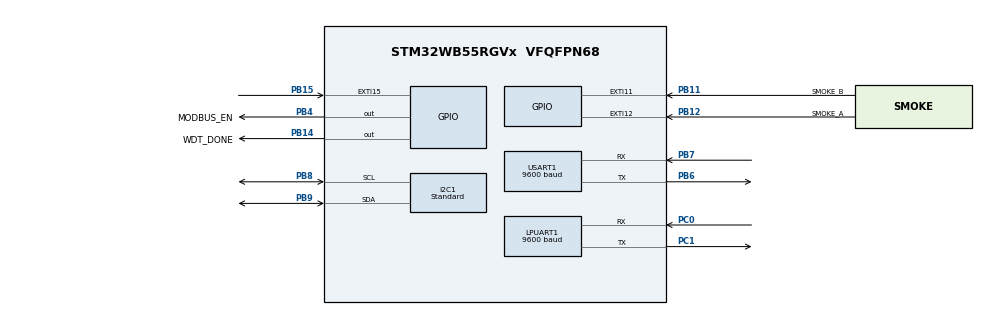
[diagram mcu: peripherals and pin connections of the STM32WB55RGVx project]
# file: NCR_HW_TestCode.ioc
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I2C1.CustomTiming=Enabled
I2C1.I2C_Speed_Mode=I2C_Standard
I2C1.Timing=0x00707CBB
IWDG.Prescaler=IWDG_PRESCALER_256
LPUART1.BaudRate=9600
Mcu.Family=STM32WB
Mcu.Name=STM32WB55RGVx
Mcu.Package=VFQFPN68
NVIC.EXTI15_10_IRQn=true\:0\:0\:false\:false\:true\:true\:true\:true
NVIC.LPUART1_IRQn=true\:0\:0\:false\:false\:true\:true\:true\:true
NVIC.PriorityGroup=NVIC_PRIORITYGROUP_4
NVIC.USART1_IRQn=true\:0\:0\:false\:false\:true\:true\:true\:true
PB11.GPIO_Label=SMOKE_B
PB11.GPIO_ModeDefaultEXTI=GPIO_MODE_IT_RISING_FALLING
PB11.Signal=GPXTI11
PB12.GPIO_Label=SMOKE_A
PB12.GPIO_ModeDefaultEXTI=GPIO_MODE_IT_RISING_FALLING
PB12.Signal=GPXTI12
PB14.GPIO_Label=WDT_DONE
PB14.Signal=GPIO_Output
PB15.GPIO_ModeDefaultEXTI=GPIO_MODE_IT_RISING
PB15.Signal=GPXTI15
PB4.GPIO_Label=MODBUS_EN
PB4.Signal=GPIO_Output
PB6.Mode=Asynchronous
PB6.Signal=USART1_TX
PB7.Mode=Asynchronous
PB7.Signal=USART1_RX
PB8.Mode=I2C
PB8.Signal=I2C1_SCL
PB9.Mode=I2C
PB9.Signal=I2C1_SDA
PC0.Mode=Asynchronous
PC0.Signal=LPUART1_RX
PC1.Mode=Asynchronous
PC1.Signal=LPUART1_TX
ProjectManager.HeapSize=0x200
ProjectManager.StackSize=0x400
ProjectManager.TargetToolchain=STM32CubeIDE
RCC.ADCFreq_Value=128000000
RCC.AHBFreq_Value=32000000
RCC.APB1Freq_Value=32000000
RCC.APB1TimFreq_Value=32000000
RCC.APB2Freq_Value=32000000
RCC.APB2TimFreq_Value=32000000
RCC.APB3Freq_Value=16000000
RCC.CortexFreq_Value=32000000
RCC.HCLKFreq_Value=32000000
RCC.HSE_VALUE=8000000
RCC.HSI48_VALUE=48000000
RCC.HSI_VALUE=16000000
RCC.LSE_VALUE=32768
RCC.MSIClockRange=RCC_MSIRANGE_10
RCC.SYSCLKFreq_VALUE=32000000
RCC.USBFreq_Value=128000000
RCC.VCOOutputFreq_Value=256000000
USART1.BaudRate=9600
USART1.VirtualMode-Asynchronous=VM_ASYNC
VP_IWDG_VS_IWDG.Mode=IWDG_Activate
board=custom

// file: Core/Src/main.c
/* USER CODE BEGIN Header */
/**
  ******************************************************************************
  * @file           : main.c
  * @brief          : Main program body
  ******************************************************************************
  * @attention
  *
  * Copyright (c) 2024 STMicroelectronics.
  * All rights reserved.
  *
  * This software is licensed under terms that can be found in the LICENSE file
  * in the root directory of this software component.
  * If no LICENSE file comes with this software, it is provided AS-IS.
  *
  ******************************************************************************
  */
/* USER CODE END Header */
#include "main.h"

/* USER CODE BEGIN Includes */
#include <stdio.h>
#include <stdbool.h>
#include "lis2dw12_reg.h"
#include <string.h>
#include "sht2x_for_stm32_hal.h"
#include "PWX_ST50H_Modbus.h"
#include "ATCommands.h"
#include <inttypes.h>
#include <sht40.h>
#include "ProjectConfig.h"
#include "stdlib.h"
#include "ads1115.h"
/* USER CODE END Includes */

I2C_HandleTypeDef hi2c1;

IWDG_HandleTypeDef hiwdg;

UART_HandleTypeDef hlpuart1;
UART_HandleTypeDef huart1;

/* USER CODE BEGIN PV */
UnscheduledTxTriggers TxTriggers = IDLE;
ModBus_t ModbusResp;
Sensors sensors;
LPUARTState lpuartState = UART_IDLE;
LTCStatus LTC4015;

bool hasJoinedNetwork = false;

uint32_t shtReadMillis = 0;
uint32_t sensorsReadMillis = 0;
uint32_t wdtResetMillis = 0;
uint32_t mcuResetMillis = 0;
uint32_t payloadQueueMilis = 0;
SHT40_Measurement sht40;

DryContactStatus dryContact;

uint8_t getMeterDataCmd1[] = GET_METER_ERG_CMD;
uint8_t getMeterDataCmd2[] = GET_METER_BASIC_CMD;

uint8_t setMeterOff[]     = METER_CMD_ON;
uint8_t setMeterOn[]      = METER_CMD_OFF;
uint8_t setMeterPrepaid[] = METER_CMD_PREPAID;

// LPUART 1 Variables
static bool responseReceived = false;
static char responseBuffer[100];
static char downlinkBuffer[100];
static uint16_t bufferIndex = 0;
bool isConfirmedUplinkReceived = false;
bool isDownlinkReceived = false;
uint8_t downlinkBufferLen = 0;
bool isWarmedUp = false;
uint32_t warmUpMillis = 0;
uint32_t acrelReadMillis = 0;

// Accelerometer related
//static axis3bit16_t data_raw_acceleration[SELF_TEST_SAMPLES];
//static float acceleration_mg[SELF_TEST_SAMPLES][3];
static uint8_t whoamI, rst;
//static uint8_t tx_buffer[1000];
stmdev_ctx_t dev_ctx;
lis2dw12_reg_t int_route;

bool isTapDetected = false;
bool isMovementDetected = false;
uint32_t initTapMillis = 0;

uint8_t prev_dryContact    = 0;
uint8_t current_dryContact = 0;
uint8_t prev_smoke         = 0;
uint8_t current_smoke      = 0;
LeakState current_leak = 0;
LeakState prev_leak = DRY;

TxPayloadQueue payLoadQueue;

float adcRead;
/* USER CODE END PV */

void SystemClock_Config(void);
void PeriphCommonClock_Config(void);
static void MX_GPIO_Init(void);
static void MX_LPUART1_UART_Init(void);
static void MX_I2C1_Init(void);
static void MX_USART1_UART_Init(void);
static void MX_IWDG_Init(void);
/* USER CODE BEGIN PFP */
#ifdef __GNUC__
#define PUTCHAR_PROTOTYPE int __io_putchar(int ch)
#else
#define PUTCHAR_PROTOTYPE int fputc(int ch, FILE *f)
#endif

PUTCHAR_PROTOTYPE
{
  HAL_UART_Transmit(&hlpuart1, (uint8_t *)&ch, 1, HAL_MAX_DELAY);
  return ch;
}

void WDTReset(void);
void MCP23008_Init(void);
void MCP23008_ConfigureInterrupts(void);
void readSHT40(SHT40 *sht40);
void scanI2CDevices(void);
void printLineMarker(char marker); // for debugging
void handleInterruptTriggers(UnscheduledTxTriggers trigger);
void readLTC4015(LTCStatus *ltc4015);
bool generatePowerTxPayload(Sensors sensors, TxPayload *payload);
void appendModbusToPayload(TxPayload *payload, ModBus_t *modbus);
void mockModbusResponse(ModBus_t *modbus, uint8_t *data, uint16_t length);
void queueUnscheduledPayload(void);
void queueHeartbeatPayload(void);
void queuePayload(TxPayload Payload);

void readWaterLeak(WaterLeak *leak);

//Lora FPF
bool setLoraCredentials(void);
bool sendATCommand(char *command, uint32_t responseWaitTime, LPUARTState _lpuartState);
bool sendToLora(uint8_t portNumber, bool isConfirmedUplink, TxPayload payload);
bool joinNetwork(void);
bool generatePayload(void **inputs, DataType *types, uint8_t itemCount, MessageType msgType, TxPayload *payload);
bool generateHeartbeatTxPayload(Sensors sensors, TxPayload *payload);
bool generatePowerTxPayload(Sensors sensors, TxPayload *payload);
bool generateUnscheduledTxPayload(Sensors sensors, TxPayload *payload);

DryContactStatus MCP23008_ReadInputs(void);
SmokeStatus ReadSmokeStatus(void);

// Accelerometer PFP
static int32_t platform_write(void *handle, uint8_t reg, const uint8_t *bufp, uint16_t len);
static int32_t platform_read(void *handle, uint8_t reg, uint8_t *bufp, uint16_t len);
//static void tx_com( uint8_t *tx_buffer, uint16_t len );
static void platform_delay(uint32_t ms);
static void platform_init(void);
bool initAccelerometer(void);
void readAccelerometer(Accel *_accel);

void initQueue(TxPayloadQueue *q);
int enqueue(TxPayloadQueue *q, TxPayload element);
int dequeue(TxPayloadQueue *q, TxPayload *element);
int isQueueEmpty(TxPayloadQueue *q);
int isQueueFull(TxPayloadQueue *q);

/* USER CODE END PFP */

/* USER CODE BEGIN 0 */
static inline float ABSF(float _x)
{
  return (_x < 0.0f) ? -(_x) : _x;
}

//static int flush_samples(stmdev_ctx_t *dev_ctx)
//{
//  lis2dw12_reg_t reg;
//  axis3bit16_t dummy;
//  int samples = 0;
//  /*
//   * Discard old samples
//   */
//  lis2dw12_status_reg_get(dev_ctx, &reg.status);
//
//  if (reg.status.drdy) {
//    lis2dw12_acceleration_raw_get(dev_ctx, dummy.i16bit);
//    samples++;
//  }
//
//  return samples;
//}
//
//static void test_self_test_lis2dw12(stmdev_ctx_t *dev_ctx)
//{
//  lis2dw12_reg_t reg;
//  float media[3] = { 0.0f, 0.0f, 0.0f };
//  float mediast[3] = { 0.0f, 0.0f, 0.0f };
//  uint8_t match[3] = { 0, 0, 0 };
//  uint8_t j = 0;
//  uint16_t i = 0;
//  uint8_t k = 0;
//  uint8_t axis;
//  /* Restore default configuration */
//  lis2dw12_reset_set(dev_ctx, PROPERTY_ENABLE);
//
//  do {
//    lis2dw12_reset_get(dev_ctx, &rst);
//  } while (rst);
//
//  lis2dw12_block_data_update_set(dev_ctx, PROPERTY_ENABLE);
//  lis2dw12_full_scale_set(dev_ctx, LIS2DW12_4g);
//  lis2dw12_power_mode_set(dev_ctx, LIS2DW12_HIGH_PERFORMANCE);
//  lis2dw12_data_rate_set(dev_ctx, LIS2DW12_XL_ODR_50Hz);
//  HAL_Delay(100);
//  /* Flush old samples */
//  flush_samples(dev_ctx);
//
//  do {
//    lis2dw12_status_reg_get(dev_ctx, &reg.status);
//
//    if (reg.status.drdy) {
//      /* Read accelerometer data */
//      memset(data_raw_acceleration[i].i16bit, 0x00, 3 * sizeof(int16_t));
//      lis2dw12_acceleration_raw_get(dev_ctx,
//                                    data_raw_acceleration[i].i16bit);
//
//      for (axis = 0; axis < 3; axis++) {
//        acceleration_mg[i][axis] =
//          lis2dw12_from_fs4_to_mg(data_raw_acceleration[i].i16bit[axis]);
//      }
//
//      i++;
//    }
//  } while (i < SELF_TEST_SAMPLES);
//
//  for (k = 0; k < 3; k++) {
//    for (j = 0; j < SELF_TEST_SAMPLES; j++) {
//      media[k] += acceleration_mg[j][k];
//    }
//
//    media[k] = (media[k] / j);
//  }
//
//  /* Enable self test mode */
//  lis2dw12_self_test_set(dev_ctx, LIS2DW12_XL_ST_POSITIVE);
//  HAL_Delay(100);
//  i = 0;
//  /* Flush old samples */
//  flush_samples(dev_ctx);
//
//  do {
//    lis2dw12_status_reg_get(dev_ctx, &reg.status);
//
//    if (reg.status.drdy) {
//      /* Read accelerometer data */
//      memset(data_raw_acceleration[i].i16bit, 0x00, 3 * sizeof(int16_t));
//      lis2dw12_acceleration_raw_get(dev_ctx,
//                                    data_raw_acceleration[i].i16bit);
//
//      for (axis = 0; axis < 3; axis++)
//        acceleration_mg[i][axis] =
//          lis2dw12_from_fs4_to_mg(data_raw_acceleration[i].i16bit[axis]);
//
//      i++;
//    }
//  } while (i < SELF_TEST_SAMPLES);
//
//  for (k = 0; k < 3; k++) {
//    for (j = 0; j < SELF_TEST_SAMPLES; j++) {
//      mediast[k] += acceleration_mg[j][k];
//    }
//
//    mediast[k] = (mediast[k] / j);
//  }
//
//  /* Check for all axis self test value range */
//  for (k = 0; k < 3; k++) {
//    if ((ABSF(mediast[k] - media[k]) >= ST_MIN_POS) &&
//        (ABSF(mediast[k] - media[k]) <= ST_MAX_POS)) {
//      match[k] = 1;
//    }
//
//    sprintf((char *)tx_buffer, "%d: |%f| <= |%f| <= |%f| %s\r\n", k,
//            ST_MIN_POS, ABSF(mediast[k] - media[k]), ST_MAX_POS,
//            match[k] == 1 ? "PASSED" : "FAILED");
//    tx_com(tx_buffer, strlen((char const *)tx_buffer));
//  }
//
//  /* Disable self test mode */
//  lis2dw12_data_rate_set(dev_ctx, LIS2DW12_XL_ODR_OFF);
//  lis2dw12_self_test_set(dev_ctx, LIS2DW12_XL_ST_DISABLE);
//}

/* USER CODE END 0 */

int main(void)
{

  /* MCU Configuration--------------------------------------------------------*/

  /* Reset of all peripherals, Initializes the Flash interface and the Systick. */
  HAL_Init();

  /* USER CODE BEGIN Init */
  // Initialize MCP23008
  MCP23008_Init();
  /* USER CODE END Init */

  /* Configure the system clock */
  SystemClock_Config();

/* Configure the peripherals common clocks */
  PeriphCommonClock_Config();

  /* Initialize all configured peripherals */
  MX_GPIO_Init();
  MX_LPUART1_UART_Init();
  MX_I2C1_Init();
  MX_USART1_UART_Init();
  MX_IWDG_Init();
  /* USER CODE BEGIN 2 */

  // Initialize MCP23008
  MCP23008_Init();

  // Configure interrupts on MCP23008
  MCP23008_ConfigureInterrupts();

  // Initialize SHT20 Sensor
  uint32_t sht40_serial;
  if( SHT40_ReadSerial(&hi2c1, &sht40_serial) != HAL_ERROR ) {
	  	sensors.sht40.alarmState.temperature = NORMAL;
	  	sensors.sht40.alarmState.humidity = NORMAL;
	  	sensors.sht40.thresholds.temp_high = TEMP_HIGH;
	  	sensors.sht40.thresholds.temp_low  = TEMP_LOW;
	  	sensors.sht40.thresholds.temp_hys  = TEMP_HYS;
	  	sensors.sht40.thresholds.rel_high  = RH_HIGH;
		sensors.sht40.thresholds.rel_low   = RH_LOW;
		sensors.sht40.thresholds.rel_hys   = RH_HYS;
		//printf("I2C connection established to SHT40 with serial %" PRIu32 "\r\n", sht40_serial);
  } else {
		//printf("Failed to read serial from SHT40; check connections and reset MCU\r\n");
  }

  // Initialize accelerometer
  if(initAccelerometer()){
	  //printf("Accelerometer Initialized \r\n ");
  }
  else{
	  //printf("Error Accelerometer Initialization \r\n ");
  }

  if(ADS1115_Init(&hi2c1, ADS1115_DATA_RATE_64, ADS1115_PGA_ONE) == HAL_OK){
	  HAL_Delay(1500);
	  //printf("ADC Present");
  } else{
  	  //printf("ADC Not Found");
  }

  // Initialize Modbus
  initModbus(&huart1, MODBUS_EN_GPIO_Port, MODBUS_EN_Pin);
  HAL_UART_Receive_IT(&huart1, (uint8_t *)(ModbusResp.buffer + ModbusResp.rxIndex), 1);

  // Init ST50H AT Slave Communication
  uint8_t rxBuffer;
  HAL_UART_Receive_IT(&hlpuart1, &rxBuffer, 1);
  // Initialize timers;
  shtReadMillis = HAL_GetTick();
  payloadQueueMilis  = HAL_GetTick();
  /* USER CODE END 2 */

  /* Infinite loop */
  /* USER CODE BEGIN WHILE */
  printf(" # # # # # # # # # # -> %s\r\n ", FirmwareName);
  printf("# # # # # # # # # # -> Firmware Version %d.%d.%d\r\n ", VERSION_MAJOR, VERSION_MID, VERSION_MINOR);

#ifdef SCAN_I2C_DEVICES
  scanI2CDevices();
#endif

  WDTReset();
  HAL_Delay(2000);

  sendATCommand(AT_RFS, 2000, AT_RESPONSE_CAPTURE_OK);
  sendATCommand(AT_RFS, 2000, AT_RESPONSE_CAPTURE_OK);
  sendATCommand(AT_RFS, 2000, AT_RESPONSE_CAPTURE_OK);

  HAL_Delay(2000);
  //printf("Setting LoRa Credentials \r\n");
  if(!setLoraCredentials()){

  }else{
	  //printf("Success setting LoRa credentials \r\n");
  }

  printf("Joining to Network \r\n");

  while(hasJoinedNetwork == false){
	  joinNetwork();
	  printf("Retrying Joining Lora\r\n");
  }
  printf("Success Joining Lora \r\n");

  TxPayload initPayload;
  initPayload.buffer[0] = 0x00;
  initPayload.buffer[1] = 0x01;
  initPayload.buffer[2] = 0x02;
  initPayload.length = 3;
  initPayload.msgType = DIAGNOSTICS;

  //printf("Sending Test Lora Payload\r\n");
  sendToLora(TEST_UPLINK_PORT, CONFIRMED_UPLINK, initPayload);

//  sendToLora(TEST_UPLINK_PORT, CONFIRMED_UPLINK, initPayload);
//
//  sendToLora(TEST_UPLINK_PORT, CONFIRMED_UPLINK, initPayload);
  mcuResetMillis = HAL_GetTick();
  warmUpMillis = HAL_GetTick();
  acrelReadMillis = HAL_GetTick();

  initQueue(&payLoadQueue);

  while (1)
  {

	  // Internal IWDT Feed
	  HAL_IWDG_Refresh(&hiwdg);

	  // External WDT Feed
	  if(HAL_GetTick() - wdtResetMillis > WDT_RESET_INTERVAL){
		  WDTReset();
		  wdtResetMillis = HAL_GetTick();
	  }

	  //Do Warm up to exclude false readings
	  if(isWarmedUp == false){
		  if(HAL_GetTick() - warmUpMillis > WARM_UP_TIME){
			  isWarmedUp = true;
		  }
	  }

//	  sendRaw(setMeterOn, METER_CMD_ON_LEN, &ModbusResp);
//	  HAL_Delay(1000);
//
//	  printf("MODBUS RESPONSE (Hex): ");
//	  for (int x = 0; x < ModbusResp.rxIndex; x++) {
//			printf("%02X ", ModbusResp.buffer[x]);
//	  }
//	  printf("\r\n");
//
//	  HAL_Delay(2000);
//
//	  sendRaw(setMeterOff, METER_CMD_OFF_LEN, &ModbusResp);
//	  HAL_Delay(1000);
//
//	  printf("MODBUS RESPONSE (Hex): ");
//	  for (int x = 0; x < ModbusResp.rxIndex; x++) {
//			printf("%02X ", ModbusResp.buffer[x]);
//	  }
//	  printf("\r\n");
//
//	  HAL_Delay(2000);

	  if(isDownlinkReceived == true){
		  isDownlinkReceived = false;
		  printf("DOWNLINK MESSAGE RECEIVED \r\n");
		  printf("Received Buffer: %.*s\r\n", downlinkBufferLen, downlinkBuffer);

		  // Check for Modbus Control
		  if(strstr(downlinkBuffer, "0101") != NULL){
			  printf("Modbus Command: Turn ON \r\n ");
			  sendRaw(setMeterOn, METER_CMD_ON_LEN, &ModbusResp);
			  HAL_Delay(1000);
		  }
		  if(strstr(downlinkBuffer, "0102") != NULL){
			  printf("Modbus Command: Turn OFF \r\n ");
			  sendRaw(setMeterOff, METER_CMD_OFF_LEN, &ModbusResp);
			  HAL_Delay(1000);
		  }
		  if(strstr(downlinkBuffer, "0103") != NULL){
			  printf("Modbus Command: Prepaid \r\n ");
			  sendRaw(setMeterPrepaid, METER_CMD_PREPAID_LEN, &ModbusResp);
			  HAL_Delay(1000);
		  }
	  }
	  if(isDownlinkReceived == true){
		  isDownlinkReceived = false;
		  printf("CONFIRMED UPLINK RECEIVED \r\n");
	  }

	  // Hanging / Freezing BAND AID Solution
	  if(HAL_GetTick() - mcuResetMillis > MCU_REST_INTERVAL){
		  //printf("RESTARTING MCU NOW... \r\n");
		  HAL_Delay(1000);
		  HAL_NVIC_SystemReset();
		  mcuResetMillis = HAL_GetTick();
	  }

	  // Handle Dequeue for Payloads
	  if(HAL_GetTick() - payloadQueueMilis > QUEUE_SEND_INTERVAL){
		  TxPayload payload;
		  if (dequeue(&payLoadQueue, &payload) == 0) {
		      //printf("Sending To Lora \r\n ");

		      if(payload.msgType == UNSCHEDULED_TRANSMISSION){
		    	  sendToLora(INTERRUPT_PORT, CONFIRMED_UPLINK, payload);
		      }

		      else if(payload.msgType == HEARTBEAT){
		    	  sendToLora(HEARTBEAT_PORT, UNCONFIRMED_UPLINK, payload);
		      }
		      else if(payload.msgType == POWER_PARAMS){
				  sendToLora(POWER_PORT, UNCONFIRMED_UPLINK, payload);
			  }

		  } else {
		      //printf("NOTHING TO SEND ... \r\n");
		  }
		  payloadQueueMilis = HAL_GetTick();
	  }

	  readAccelerometer(&sensors.accel);

	//test_self_test_lis2dw12(&dev_ctx);
    /* USER CODE END WHILE */

    /* USER CODE BEGIN 3 */

	  // Check for Unscheduled Transmission Requests
	  // handleInterruptTriggers(TxTriggers);

  	  // Check "INTERUPT EVENTS"
  	  if(HAL_GetTick() - shtReadMillis > SHT_READ_INTERVAL){

  		 // Read Water Leak
  		readWaterLeak(&sensors.leak);
  		current_leak = sensors.leak.state;
  		if(current_leak != prev_leak){
  			//printf("ALERT ON LEAK \r\n");
  			prev_leak = current_leak;

  			queueUnscheduledPayload();

  		}

  		// Read Temperature
  		readSHT40(&sensors.sht40);

  		// Read Smoke Sensor
  		sensors.smoke = ReadSmokeStatus();
  		current_smoke =  sensors.smoke.level;
  		if(current_smoke != prev_smoke){
  			//printf("ALERT ON SMOKE \r\n");
  			prev_smoke = current_smoke;

  			queueUnscheduledPayload();

  		}

  		// Read DryContacts
  	    sensors.dryContact = MCP23008_ReadInputs();
  	    current_dryContact = sensors.dryContact.value;
  	    if(current_dryContact != prev_dryContact){
  	    	//printf("ALERT ON DRY CONTACT \r\n");
  	    	prev_dryContact = current_dryContact;

  	    	queueUnscheduledPayload();

  	    }

#ifdef SERIAL_DEBUG_SHT
//  		printLineMarker('*');
//  		printf("\nSHT20 Reading ->Temperature: %.02f \t Humidity: %.02f\r\n", sensors.sht40.temperature, sensors.sht40.humidity);
//  		printf("\nSmoke Level -> Level %d \r\n", sensors.smoke.level);
//		printf("\nDry Contact States: %d %d %d %d %d %d %d %d \r\n\n",
//				sensors.dryContact.DC1, sensors.dryContact.DC2,
//				sensors.dryContact.DC3, sensors.dryContact.DC4,
//				sensors.dryContact.DC5, sensors.dryContact.DC6,
//				sensors.dryContact.DC7, sensors.dryContact.DC8);
//  		printLineMarker('*');
#endif

  		shtReadMillis = HAL_GetTick();
  	  }

  	  // Read Acrel Meter every Y Interval
  	  if(HAL_GetTick() - acrelReadMillis > ACREL_READ_INTERVAL){

  		  	TxPayload _powerPayload;
  		    _powerPayload.msgType = POWER_PARAMS;
  		    _powerPayload.buffer[0] = POWER_PARAMS;
  		    _powerPayload.length = 1;

			// First Modbus Command
			sendRaw(getMeterDataCmd1, GetMeterData_LEN, &ModbusResp);
			HAL_Delay(2000);

//			  printf("MODBUS RESPONSE (Hex): ");
//			  for (int x = 0; x < ModbusResp.rxIndex; x++) {
//					printf("%02X ", ModbusResp.buffer[x]);
//			  }
//			  printf("\r\n");

			appendModbusToPayload(&_powerPayload, &ModbusResp);

			// Second Modbus Command
			sendRaw(getMeterDataCmd2, GetMeterData_LEN, &ModbusResp);
			HAL_Delay(2000);

//			  printf("MODBUS RESPONSE (Hex): ");
//			  for (int x = 0; x < ModbusResp.rxIndex; x++) {
//					printf("%02X ", ModbusResp.buffer[x]);
//			  }
//			  printf("\r\n");

			appendModbusToPayload(&_powerPayload, &ModbusResp);

			queuePayload(_powerPayload);

			acrelReadMillis = HAL_GetTick();
  	  }

  	  // Read All Sensors every Y Interval - HEART BEAT
  	  if(HAL_GetTick() - sensorsReadMillis > DEVICE_HEARTBEAT){

  		// Read Water Leak
  		readWaterLeak(&sensors.leak);

  		// Read SHT20
  		readSHT40(&sensors.sht40);

	    // Read Smoke Sensor
	    sensors.smoke = ReadSmokeStatus();

	    // Read DryContacts
	    sensors.dryContact = MCP23008_ReadInputs();

	    // PLaceholder for LTC4015
	    readLTC4015(&sensors.ltc4015);

	    queueHeartbeatPayload();

//	    TxPayload _powerPayload;
//	    generatePowerTxPayload(sensors, &_powerPayload);
//
//
//	    // First Modbus Command
//	    sendRaw(getMeterDataCmd1, GetMeterData_LEN, &ModbusResp);
//	    HAL_Delay(2000);
//
//	    // Mock first Modbus Response
////	    uint8_t mockData1[] = {0x01, 0x03, 0x08, 0x01, 0x02, 0x03, 0x04, 0x05, 0x06, 0x07, 0x08, 0x64, 0x17};
////	    mockModbusResponse(&ModbusResp, mockData1, sizeof(mockData1));
//	    appendModbusToPayload(&_powerPayload, &ModbusResp);
//
//
//	    // Second Modbus Command
//	    sendRaw(getMeterDataCmd2, GetMeterData_LEN, &ModbusResp);
//	    HAL_Delay(2000);
//
//
//	    // Mock second Modbus Response
////	    uint8_t mockData2[] = {0x01, 0x03, 0x0E, 0x08, 0xD2, 0x00, 0x12, 0x00, 0x15, 0x00, 0x00, 0x00, 0x15, 0x03, 0xE8, 0x17, 0x61, 0x30, 0x4D};
////	    mockModbusResponse(&ModbusResp, mockData2, sizeof(mockData2));
//	    appendModbusToPayload(&_powerPayload, &ModbusResp);

//		sendToLora(POWER_PORT, CONFIRMED_UPLINK, _powerPayload);

#ifdef SCAN_I2C_DEVICES
  		scanI2CDevices();
#endif

#ifdef SERIAL_DEBUG_SENSORS
	    printLineMarker('-');
	    printf("SHT20 Reading ->Temperature: %.02f \t Humidity: %.02f\r\n", sensors.sht40.temperature, sensors.sht40.humidity);
	    printf("Smoke Level -> Level %d \r\n", sensors.smoke.level);
	    printf("Dry Contact States: %d %d %d %d %d %d %d %d \r\n",
				sensors.dryContact.DC1, sensors.dryContact.DC2,
				sensors.dryContact.DC3, sensors.dryContact.DC4,
				sensors.dryContact.DC5, sensors.dryContact.DC6,
				sensors.dryContact.DC7, sensors.dryContact.DC8);
	    printf("MODBUS RESPONSE (Hex): ");
	    for (int x = 0; x < ModbusResp.rxIndex; x++) {
	        printf("%02X ", ModbusResp.buffer[x]);
	    }
	    printf(" \r\n");
	    printLineMarker('-');
#endif

//	    // Generate HEARTBEAT Payload
//	    TxPayload _heartBeatPayload;
//	    generateHeartbeatTxPayload(sensors, &_heartBeatPayload);
//
//	    sendToLora(HEARTBEAT_PORT, CONFIRMED_UPLINK, _heartBeatPayload);

  		sensorsReadMillis = HAL_GetTick();
  	  }

  }
  /* USER CODE END 3 */
}

void SystemClock_Config(void)
{
  RCC_OscInitTypeDef RCC_OscInitStruct = {0};
  RCC_ClkInitTypeDef RCC_ClkInitStruct = {0};

  /** Configure the main internal regulator output voltage
  */
  __HAL_PWR_VOLTAGESCALING_CONFIG(PWR_REGULATOR_VOLTAGE_SCALE1);

  /** Initializes the RCC Oscillators according to the specified parameters
  * in the RCC_OscInitTypeDef structure.
  */
  RCC_OscInitStruct.OscillatorType = RCC_OSCILLATORTYPE_HSI|RCC_OSCILLATORTYPE_LSI1
                              |RCC_OSCILLATORTYPE_MSI;
  RCC_OscInitStruct.HSIState = RCC_HSI_ON;
  RCC_OscInitStruct.MSIState = RCC_MSI_ON;
  RCC_OscInitStruct.HSICalibrationValue = RCC_HSICALIBRATION_DEFAULT;
  RCC_OscInitStruct.MSICalibrationValue = RCC_MSICALIBRATION_DEFAULT;
  RCC_OscInitStruct.MSIClockRange = RCC_MSIRANGE_10;
  RCC_OscInitStruct.LSIState = RCC_LSI_ON;
  RCC_OscInitStruct.PLL.PLLState = RCC_PLL_NONE;
  if (HAL_RCC_OscConfig(&RCC_OscInitStruct) != HAL_OK)
  {
    Error_Handler();
  }

  /** Configure the SYSCLKSource, HCLK, PCLK1 and PCLK2 clocks dividers
  */
  RCC_ClkInitStruct.ClockType = RCC_CLOCKTYPE_HCLK4|RCC_CLOCKTYPE_HCLK2
                              |RCC_CLOCKTYPE_HCLK|RCC_CLOCKTYPE_SYSCLK
                              |RCC_CLOCKTYPE_PCLK1|RCC_CLOCKTYPE_PCLK2;
  RCC_ClkInitStruct.SYSCLKSource = RCC_SYSCLKSOURCE_MSI;
  RCC_ClkInitStruct.AHBCLKDivider = RCC_SYSCLK_DIV1;
  RCC_ClkInitStruct.APB1CLKDivider = RCC_HCLK_DIV1;
  RCC_ClkInitStruct.APB2CLKDivider = RCC_HCLK_DIV1;
  RCC_ClkInitStruct.AHBCLK2Divider = RCC_SYSCLK_DIV1;
  RCC_ClkInitStruct.AHBCLK4Divider = RCC_SYSCLK_DIV1;

  if (HAL_RCC_ClockConfig(&RCC_ClkInitStruct, FLASH_LATENCY_1) != HAL_OK)
  {
    Error_Handler();
  }
}

void PeriphCommonClock_Config(void)
{
  RCC_PeriphCLKInitTypeDef PeriphClkInitStruct = {0};

  /** Initializes the peripherals clock
  */
  PeriphClkInitStruct.PeriphClockSelection = RCC_PERIPHCLK_SMPS;
  PeriphClkInitStruct.SmpsClockSelection = RCC_SMPSCLKSOURCE_HSI;
  PeriphClkInitStruct.SmpsDivSelection = RCC_SMPSCLKDIV_RANGE1;

  if (HAL_RCCEx_PeriphCLKConfig(&PeriphClkInitStruct) != HAL_OK)
  {
    Error_Handler();
  }
}

static void MX_I2C1_Init(void)
{

  hi2c1.Instance = I2C1;
  hi2c1.Init.Timing = 0x00707CBB;
  hi2c1.Init.OwnAddress1 = 0;
  hi2c1.Init.AddressingMode = I2C_ADDRESSINGMODE_7BIT;
  hi2c1.Init.DualAddressMode = I2C_DUALADDRESS_DISABLE;
  hi2c1.Init.OwnAddress2 = 0;
  hi2c1.Init.OwnAddress2Masks = I2C_OA2_NOMASK;
  hi2c1.Init.GeneralCallMode = I2C_GENERALCALL_DISABLE;
  hi2c1.Init.NoStretchMode = I2C_NOSTRETCH_DISABLE;
  if (HAL_I2C_Init(&hi2c1) != HAL_OK)
  {
    Error_Handler();
  }

  /** Configure Analogue filter
  */
  if (HAL_I2CEx_ConfigAnalogFilter(&hi2c1, I2C_ANALOGFILTER_ENABLE) != HAL_OK)
  {
    Error_Handler();
  }

  /** Configure Digital filter
  */
  if (HAL_I2CEx_ConfigDigitalFilter(&hi2c1, 0) != HAL_OK)
  {
    Error_Handler();
  }

}

static void MX_IWDG_Init(void)
{

  hiwdg.Instance = IWDG;
  hiwdg.Init.Prescaler = IWDG_PRESCALER_256;
  hiwdg.Init.Window = 4095;
  hiwdg.Init.Reload = 4095;
  if (HAL_IWDG_Init(&hiwdg) != HAL_OK)
  {
    Error_Handler();
  }

}

static void MX_LPUART1_UART_Init(void)
{

  hlpuart1.Instance = LPUART1;
  hlpuart1.Init.BaudRate = 9600;
  hlpuart1.Init.WordLength = UART_WORDLENGTH_8B;
  hlpuart1.Init.StopBits = UART_STOPBITS_1;
  hlpuart1.Init.Parity = UART_PARITY_NONE;
  hlpuart1.Init.Mode = UART_MODE_TX_RX;
  hlpuart1.Init.HwFlowCtl = UART_HWCONTROL_NONE;
  hlpuart1.Init.OneBitSampling = UART_ONE_BIT_SAMPLE_DISABLE;
  hlpuart1.Init.ClockPrescaler = UART_PRESCALER_DIV1;
  hlpuart1.AdvancedInit.AdvFeatureInit = UART_ADVFEATURE_NO_INIT;
  hlpuart1.FifoMode = UART_FIFOMODE_DISABLE;
  if (HAL_UART_Init(&hlpuart1) != HAL_OK)
  {
    Error_Handler();
  }
  if (HAL_UARTEx_SetTxFifoThreshold(&hlpuart1, UART_TXFIFO_THRESHOLD_1_8) != HAL_OK)
  {
    Error_Handler();
  }
  if (HAL_UARTEx_SetRxFifoThreshold(&hlpuart1, UART_RXFIFO_THRESHOLD_1_8) != HAL_OK)
  {
    Error_Handler();
  }
  if (HAL_UARTEx_DisableFifoMode(&hlpuart1) != HAL_OK)
  {
    Error_Handler();
  }

}

static void MX_USART1_UART_Init(void)
{

  huart1.Instance = USART1;
  huart1.Init.BaudRate = 9600;
  huart1.Init.WordLength = UART_WORDLENGTH_8B;
  huart1.Init.StopBits = UART_STOPBITS_1;
  huart1.Init.Parity = UART_PARITY_NONE;
  huart1.Init.Mode = UART_MODE_TX_RX;
  huart1.Init.HwFlowCtl = UART_HWCONTROL_NONE;
  huart1.Init.OverSampling = UART_OVERSAMPLING_16;
  huart1.Init.OneBitSampling = UART_ONE_BIT_SAMPLE_DISABLE;
  huart1.Init.ClockPrescaler = UART_PRESCALER_DIV1;
  huart1.AdvancedInit.AdvFeatureInit = UART_ADVFEATURE_NO_INIT;
  if (HAL_UART_Init(&huart1) != HAL_OK)
  {
    Error_Handler();
  }
  if (HAL_UARTEx_SetTxFifoThreshold(&huart1, UART_TXFIFO_THRESHOLD_1_8) != HAL_OK)
  {
    Error_Handler();
  }
  if (HAL_UARTEx_SetRxFifoThreshold(&huart1, UART_RXFIFO_THRESHOLD_1_8) != HAL_OK)
  {
    Error_Handler();
  }
  if (HAL_UARTEx_DisableFifoMode(&huart1) != HAL_OK)
  {
    Error_Handler();
  }

}

static void MX_GPIO_Init(void)
{
  GPIO_InitTypeDef GPIO_InitStruct = {0};

  /* GPIO Ports Clock Enable */
  __HAL_RCC_GPIOB_CLK_ENABLE();
  __HAL_RCC_GPIOC_CLK_ENABLE();

  /*Configure GPIO pin Output Level */
  HAL_GPIO_WritePin(GPIOB, WDT_DONE_Pin|MODBUS_EN_Pin, GPIO_PIN_RESET);

  /*Configure GPIO pins : SMOKE_B_Pin SMOKE_A_Pin */
  GPIO_InitStruct.Pin = SMOKE_B_Pin|SMOKE_A_Pin;
  GPIO_InitStruct.Mode = GPIO_MODE_IT_RISING_FALLING;
  GPIO_InitStruct.Pull = GPIO_NOPULL;
  HAL_GPIO_Init(GPIOB, &GPIO_InitStruct);

  /*Configure GPIO pins : WDT_DONE_Pin MODBUS_EN_Pin */
  GPIO_InitStruct.Pin = WDT_DONE_Pin|MODBUS_EN_Pin;
  GPIO_InitStruct.Mode = GPIO_MODE_OUTPUT_PP;
  GPIO_InitStruct.Pull = GPIO_NOPULL;
  GPIO_InitStruct.Speed = GPIO_SPEED_FREQ_LOW;
  HAL_GPIO_Init(GPIOB, &GPIO_InitStruct);

  /*Configure GPIO pin : PB15 */
  GPIO_InitStruct.Pin = GPIO_PIN_15;
  GPIO_InitStruct.Mode = GPIO_MODE_IT_RISING;
  GPIO_InitStruct.Pull = GPIO_NOPULL;
  HAL_GPIO_Init(GPIOB, &GPIO_InitStruct);

  /* EXTI interrupt init*/
  HAL_NVIC_SetPriority(EXTI15_10_IRQn, 0, 0);
  HAL_NVIC_EnableIRQ(EXTI15_10_IRQn);

}

/* USER CODE BEGIN 4 */
void MCP23008_Init(void)
{
    uint8_t data[2];

    // Set all GPIO pins as inputs
    data[0] = MCP23008_IODIR;
    data[1] = 0xFF;  // Set all pins as input
    HAL_I2C_Master_Transmit(&hi2c1, MCP23008_ADDR << 1, data, 2, HAL_MAX_DELAY);
}

DryContactStatus MCP23008_ReadInputs(void)
{
    uint8_t data[1];
    uint8_t gpioState;

    // Request to read GPIO register
    data[0] = MCP23008_GPIO;

    HAL_I2C_Master_Transmit(&hi2c1, MCP23008_ADDR << 1, data, 1, HAL_MAX_DELAY);
    //HAL_Delay(50);
    // Read GPIO register
    HAL_I2C_Master_Receive(&hi2c1, MCP23008_ADDR << 1, &gpioState, 1, HAL_MAX_DELAY);

    DryContactStatus dryContact;
    dryContact.value = gpioState;
	dryContact.DC1 = (gpioState & (1 << 0)) ? true : false;
	dryContact.DC2 = (gpioState & (1 << 1)) ? true : false;
	dryContact.DC3 = (gpioState & (1 << 2)) ? true : false;
	dryContact.DC4 = (gpioState & (1 << 3)) ? true : false;
	dryContact.DC5 = (gpioState & (1 << 4)) ? true : false;
	dryContact.DC6 = (gpioState & (1 << 5)) ? true : false;
	dryContact.DC7 = (gpioState & (1 << 6)) ? true : false;
	dryContact.DC8 = (gpioState & (1 << 7)) ? true : false;

	return dryContact;
}

DryContactStatus MCP23008_ReadCapturedINT(void){
    uint8_t data[1];
    uint8_t gpioState;

    // Request to read GPIO register
    data[0] = MCP23008_INTCAP;

    HAL_I2C_Master_Transmit(&hi2c1, MCP23008_ADDR << 1, data, 1, HAL_MAX_DELAY);
    //HAL_Delay(10);
    // Read GPIO register
    HAL_I2C_Master_Receive(&hi2c1, MCP23008_ADDR << 1, &gpioState, 1, HAL_MAX_DELAY);

//    DryContactStatus dryContact;
    dryContact.value = gpioState;
//	dryContact.DC1 = (gpioState & (1 << 0)) ? true : false;
//	dryContact.DC2 = (gpioState & (1 << 1)) ? true : false;
//	dryContact.DC3 = (gpioState & (1 << 2)) ? true : false;
//	dryContact.DC4 = (gpioState & (1 << 3)) ? true : false;
//	dryContact.DC5 = (gpioState & (1 << 4)) ? true : false;
//	dryContact.DC6 = (gpioState & (1 << 5)) ? true : false;
//	dryContact.DC7 = (gpioState & (1 << 6)) ? true : false;
//	dryContact.DC8 = (gpioState & (1 << 7)) ? true : false;

	return dryContact;
}

void MCP23008_ConfigureInterrupts(void)
{
    uint8_t data[2];

    // Enable interrupts for all GPIO pins
    data[0] = MCP23008_GPINTEN;
    data[1] = 0xFF; // Enable interrupts on all pins
    HAL_I2C_Master_Transmit(&hi2c1, MCP23008_ADDR << 1, data, 2, HAL_MAX_DELAY);

    // Configure interrupt on change (default value) for all pins
    data[0] = MCP23008_INTCON;
    data[1] = 0x00; // Compare register is used for all pins
    HAL_I2C_Master_Transmit(&hi2c1, MCP23008_ADDR << 1, data, 2, HAL_MAX_DELAY);

    // Set default values for comparison (not strictly necessary)
    data[0] = MCP23008_DEFVAL;
    data[1] = 0x00; // No specific default value comparison
    HAL_I2C_Master_Transmit(&hi2c1, MCP23008_ADDR << 1, data, 2, HAL_MAX_DELAY);

    // Configure interrupt control to generate an interrupt on change
    // Assuming here the default configuration is sufficient

    // Read the current value of the IOCON register
	data[0] = MCP23008_IOCON;
	HAL_I2C_Master_Receive(&hi2c1, MCP23008_ADDR << 1, &data[1], 1, HAL_MAX_DELAY);

	// Modify Bit 1 and Bit 2
	// Bit 1 (INTPOL) = 1 (Active High)
	// Bit 2 (Driver Output) = 0 (Keep as 0)
	data[1] = (data[1] & ~(1 << 2)) | (1 << 1);

	// Write the updated value back to the IOCON register
	data[0] = MCP23008_IOCON;
	HAL_I2C_Master_Transmit(&hi2c1, MCP23008_ADDR << 1, data, 2, HAL_MAX_DELAY);

}

void HAL_GPIO_EXTI_IRQHandler(uint16_t GPIO_Pin)
{
  /* EXTI line interrupt detected */
  if (__HAL_GPIO_EXTI_GET_IT(GPIO_Pin) != 0x00u)
  {
    __HAL_GPIO_EXTI_CLEAR_IT(GPIO_Pin);

    switch(GPIO_Pin)
    {
      case GPIO_PIN_15:
    	  MCP23008_ReadCapturedINT();
    	  TxTriggers = DRY_CONTACT;
          break;
      case SMOKE_A_Pin:
      case SMOKE_B_Pin:
    	  TxTriggers = SMOKE_SENSOR;
          break;
      default:
        break;
    }

  }
}

SmokeStatus ReadSmokeStatus(void)
{
    SmokeStatus smokeStatus;
    smokeStatus.pinA = HAL_GPIO_ReadPin(GPIOB, SMOKE_A_Pin);
    smokeStatus.pinB = HAL_GPIO_ReadPin(GPIOB, SMOKE_B_Pin);

    if (!smokeStatus.pinA && !smokeStatus.pinB) {
        smokeStatus.status = "Clean";
        smokeStatus.level = 1;
    } else if (!smokeStatus.pinA && smokeStatus.pinB) {
        smokeStatus.status = "Light Pollution";
        smokeStatus.level = 2;
    } else if (smokeStatus.pinA && !smokeStatus.pinB) {
        smokeStatus.status = "Moderate Pollution";
        smokeStatus.level = 3;
    } else if (smokeStatus.pinA && smokeStatus.pinB) {
        smokeStatus.status = "Severe Pollution";
        smokeStatus.level = 4;
    } else {
        smokeStatus.status = "Unknown"; // Fallback case, should not occur
        smokeStatus.level = 0;
    }

    return smokeStatus;
}

void HAL_UART_RxCpltCallback(UART_HandleTypeDef *huart)
{

	  if (huart->Instance == USART1)
	  {
		  Modbus_RxCallback(&ModbusResp);
		  HAL_UART_Receive_IT(&huart1, (uint8_t *)(ModbusResp.buffer + ModbusResp.rxIndex), 1);
	  }

	  if (huart->Instance == LPUART1) {
		  // Handle received data
		  uint8_t receivedData = huart->pRxBuffPtr[-1]; // Last received byte

		  if(lpuartState != UART_IDLE){
			  // Store received data in buffer
			  responseBuffer[bufferIndex++] = receivedData;
			  mcuResetMillis = HAL_GetTick();
			  // Check if the buffer is full or if the received character is \r or \n
			  if (receivedData == '\r' || receivedData == '\n' || bufferIndex >= MAX_UART_BUFFER_SIZE) {
				  //responseBuffer[bufferIndex] = '\r'; // Null-terminate the string
				  //printf("Received: %s\n", responseBuffer);
				  switch(lpuartState){
				  case AT_RESPONSE_CAPTURE_OK:
					  if (strstr(responseBuffer, "OK") != NULL) {
						  //printf("OK RECEIVED\r\n");
						  responseReceived = true;
					  }
					  break;
				  case AT_RESPONSE_CAPTURE_NVM_STORED:
					  if (strstr(responseBuffer, "NVM DATA STORED") != NULL) {
						  responseReceived = true;
						  //printf("STORE OK RECEIVED\r\n");
					  }
					  else if (strstr(responseBuffer, "NVM DATA UP TO DATE") != NULL) {
						  responseReceived = true;
						  //printf("STORE OK RECEIVED\r\n");
					  }
					  break;
				  case AT_RESPONSE_CAPTURE_RESET:
					  if (strstr(responseBuffer, "APPLICATION_VERSION") != NULL) {
						  responseReceived = true;
						  //printf("RESET RECEIVED\r\n");
					  }
					  break;
				  case AT_RESPONSE_CAPTURE_JOIN:
				  {
					  if (strstr(responseBuffer, "EVT:JOINED") != NULL) {
						  responseReceived = true;
						  hasJoinedNetwork = true;
						  //printf("EVENT JOINED\r\n");
						  //memset(responseBuffer, '\0', MAX_UART_BUFFER_SIZE);
						  bufferIndex = 0;
					  }
					  else if (strstr(responseBuffer, "EVT:JOIN FAILED") != NULL) {
						  //responseReceived = true;
						  hasJoinedNetwork = false;
						  //printf("EVENT JOIN FAILED\r\n");
						  bufferIndex = 0;
						  //memset(responseBuffer, '\0', MAX_UART_BUFFER_SIZE);
					  }
					  break;
				  }
				  case AT_RESPONSE_CAPTURE_SEND_OK:
					  if (strstr(responseBuffer, "NO_NETWORK_JOINED") != NULL) {
						 bufferIndex = 0;
					  }
					  else if (strstr(responseBuffer, "OK") != NULL) {
						  bufferIndex = 0;
					  }
					  else if (strstr(responseBuffer, "+EVT:5:") != NULL) {
						  isDownlinkReceived = true;
						  downlinkBufferLen = bufferIndex;
						  memcpy(downlinkBuffer, responseBuffer, bufferIndex);
					  }

					  break;

				  case UART_IDLE:

					  // do nothing for now
					  break;
				  }

				  // Clear the buffer and reset index
				  bufferIndex = 0;
			  }
		  }

//		  else if(lpuartState == AT_RESPONSE_CAPTURE_JOIN){
//			  // Store received data in buffer
//			  responseBuffer[bufferIndex++] = receivedData;
//
//
//			  if (strstr(responseBuffer, "EVT:JOINED") != NULL) {
//				  // Handle joined event
//				  // Do something, e.g., indicate success or set a flag
//				  printf("Event: JOINED\r\n");
//				  hasJoinedNetwork = true;
//				  responseReceived = true;
//				  for (int i = 0; i < MAX_UART_BUFFER_SIZE; i++) {
//				      responseBuffer[i] = '\0';
//				  }
//				  bufferIndex = 0; // Reset buffer after handling event
//			  } else if (strstr(responseBuffer, "EVT:JOIN FAILED") != NULL) {
//				  // Handle join failed event
//				  // Do something, e.g., retry connection or set an error flag
//				  printf("Event: JOIN FAILED\r\n");
//				  memset(responseBuffer, 0, MAX_UART_BUFFER_SIZE);
//				  responseReceived = true;
//				  hasJoinedNetwork = false;
//				  for (int i = 0; i < MAX_UART_BUFFER_SIZE; i++) {
//					  responseBuffer[i] = '\0';
//				  }
//				  bufferIndex = 0; // Reset buffer after handling event
//			  }
//		  }

		  // Restart reception
		  HAL_UART_Receive_IT(huart, huart->pRxBuffPtr, 1);
	  }

}

void WDTReset(void){
	HAL_GPIO_WritePin(WDT_DONE_GPIO_Port, WDT_DONE_Pin, GPIO_PIN_SET);
	HAL_Delay(1);
	HAL_GPIO_WritePin(WDT_DONE_GPIO_Port, WDT_DONE_Pin, GPIO_PIN_RESET);
}

void scanI2CDevices(void){
	for (uint8_t addr = 0; addr < 128; addr++) {
	  HAL_StatusTypeDef status = HAL_I2C_IsDeviceReady(&hi2c1, addr << 1, 5, 5000); // Adjust timeout as needed

	  if (status == HAL_OK) {
		printf(" ---- > Device found at address 0x%02X\n", addr);
	  }
	  else{
		// printf("No device found at address 0x%02X\n", addr);
	  }
	}
}

void printLineMarker(char marker) {
    for (int i = 0; i < 25; i++) {
        printf("%c ", marker);
    }
    printf("\r\n");
}

// Function to convert data to byte array
uint8_t dataToByteArray(void *input, uint8_t *output, DataType type) {
    uint8_t size = 0;
    switch (type) {
        case TYPE_UINT8:
            output[0] = *((uint8_t*)input);
            size = sizeof(uint8_t);
            break;
        case TYPE_UINT16:
            memcpy(output, input, sizeof(uint16_t));
            size = sizeof(uint16_t);
            break;
        case TYPE_UINT32:
            memcpy(output, input, sizeof(uint32_t));
            size = sizeof(uint32_t);
            break;
        case TYPE_INT8:
            output[0] = *((int8_t*)input);
            size = sizeof(int8_t);
            break;
        case TYPE_INT16:
            memcpy(output, input, sizeof(int16_t));
            size = sizeof(int16_t);
            break;
        case TYPE_INT32:
            memcpy(output, input, sizeof(int32_t));
            size = sizeof(int32_t);
            break;
        case TYPE_FLOAT:
            memcpy(output, input, sizeof(float));
            size = sizeof(float);
            break;
        default:
        	break;
    }
    return size;
}

// Function to generate the payload
bool generatePayload(void **inputs, DataType *types, uint8_t itemCount, MessageType msgType, TxPayload *payload) {
    if (inputs == NULL || types == NULL || itemCount == 0 || itemCount > MAX_LORA_PAYLOAD_BUFFER_SIZE) {
        return false;
    }

    payload->msgType = msgType;
    payload->buffer[0] = msgType;
    uint8_t index = 1;

    for (uint8_t i = 0; i < itemCount; ++i) {
        uint8_t size = dataToByteArray(inputs[i], &payload->buffer[index], types[i]);
        if (index + size > MAX_LORA_PAYLOAD_BUFFER_SIZE) {
            return false; // Exceeds maximum buffer size
        }
        index += size;
    }

    payload->length = index;
    return true;
}

bool generateUnscheduledTxPayload(Sensors sensors, TxPayload *payload){

	MessageType msgType = UNSCHEDULED_TRANSMISSION;

	void *inputs[] = {&sensors.sht40.temperature, &sensors.sht40.humidity, &sensors.dryContact.value, &sensors.smoke.level, &sensors.leak.state, &sensors.accel.status};
	DataType types[] = { TYPE_FLOAT, TYPE_FLOAT, TYPE_UINT8, TYPE_UINT8, TYPE_UINT8, TYPE_UINT8};

	bool ret = generatePayload(inputs, types, sizeof(inputs) / sizeof(void*), msgType, payload);

#ifdef SERIAL_DEBUG_PAYLOADCHECK
	if(ret){
		printf("HEARTBEAT PAYLOAD: ");
		for (uint8_t i = 0; i < payload->length; ++i) {
			printf("%02X ", payload->buffer[i]);
		}
		printf("\r\n ");
	}
	else{
		printf("Failed to generate payload\n");
	}
#endif

	return ret;
}

bool generateHeartbeatTxPayload(Sensors sensors, TxPayload *payload){

	MessageType msgType = HEARTBEAT;

	void *inputs[] = {&sensors.sht40.temperature, &sensors.sht40.humidity, &sensors.dryContact.value,
					  &sensors.smoke.level, &sensors.ltc4015.VIN, &sensors.ltc4015.VBAT, &sensors.ltc4015.VSYS, &sensors.leak.state, &sensors.accel.status};

	DataType types[] = { TYPE_FLOAT, TYPE_FLOAT, TYPE_UINT8, TYPE_UINT8, TYPE_FLOAT, TYPE_FLOAT, TYPE_FLOAT, TYPE_UINT8, TYPE_UINT8};

	bool ret = generatePayload(inputs, types, sizeof(inputs) / sizeof(void*), msgType, payload);

#ifdef SERIAL_DEBUG_PAYLOADCHECK
	if(ret){
		printf("HEARTBEAT PAYLOAD: ");
		for (uint8_t i = 0; i < payload->length; ++i) {
			printf("%02X ", payload->buffer[i]);
		}
		printf("\r\n ");
	}
	else{
		printf("Failed to generate payload\n");
	}
#endif

	return ret;
}

bool generatePowerTxPayload(Sensors sensors, TxPayload *payload){
	MessageType msgType = POWER_PARAMS;

	void *inputs[] = {
			&sensors.ltc4015.VIN,
			&sensors.ltc4015.VBAT,
			&sensors.ltc4015.VSYS,
	};

	DataType types[] = {
			TYPE_FLOAT,
			TYPE_FLOAT,
			TYPE_FLOAT,
	};

	bool ret = generatePayload(inputs, types, sizeof(inputs) / sizeof(void*), msgType, payload);

#ifdef SERIAL_DEBUG_PAYLOADCHECK
	if(ret){
		printf("POWER PAYLOAD: ");
		for (uint8_t i = 0; i < payload->length; ++i) {
			printf("%02X ", payload->buffer[i]);
		}
		printf("\r\n ");
	}
	else{
		printf("Failed to generate payload\n");
	}
#endif

	return ret;
}

void handleInterruptTriggers(UnscheduledTxTriggers trigger){

	// clear remaining interrupts
	//__HAL_GPIO_EXTI_CLEAR_IT(SMOKE_A_Pin);
	//__HAL_GPIO_EXTI_CLEAR_IT(SMOKE_B_Pin);
	//__HAL_GPIO_EXTI_CLEAR_IT(GPIO_PIN_15);

	//DryContactStatus dryContact;
	//SmokeStatus smokeStatus;
	switch(trigger){
	case IDLE:
		// do nothing
		break;
	case DRY_CONTACT:
	case SMOKE_SENSOR:
	case SHT:

		sensors.dryContact = MCP23008_ReadInputs();

	    sensors.smoke = ReadSmokeStatus();

	    readSHT40(&sensors.sht40);

#ifdef SERIAL_DEBUG_INTERRUPT
		printLineMarker('!');
		printf("\nDRY CONTACT: %d %d %d %d %d %d %d %d \r\n",
				sensors.dryContact.DC8, sensors.dryContact.DC7, sensors.dryContact.DC6, sensors.dryContact.DC5,
				sensors.dryContact.DC4, sensors.dryContact.DC3, sensors.dryContact.DC2, sensors.dryContact.DC1);
		printf("\nSMOKE_A: %d, SMOKE_B: %d, Status: %s \r\n",
				sensors.smoke.pinA, sensors.smoke.pinB, sensors.smoke.status);
		printf("\nSHT20 Reading ->Temperature: %.02f \t Humidity: %.02f\r\n", sensors.sht40.temperature, sensors.sht40.humidity);
		printLineMarker('!');
#endif

		// Create Payload
		// Generate Unscheduled Payload
		TxPayload _heartBeatPayload;
		generateUnscheduledTxPayload(sensors, &_heartBeatPayload);

		sendToLora(INTERRUPT_PORT, CONFIRMED_UPLINK, _heartBeatPayload);

		TxTriggers = IDLE;

		break;
	default:
		// do nothing
		break;
	}

}

bool setLoraCredentials(void){

	if(!sendATCommand(AT_SET_DEVEUI, 2000, AT_RESPONSE_CAPTURE_OK)){
		return false;
	}
	if(!sendATCommand(AT_SET_APPEUI, 2000, AT_RESPONSE_CAPTURE_OK)){
		return false;
	}
	if(!sendATCommand(AT_SET_APPKEY, 2000, AT_RESPONSE_CAPTURE_OK)){
		return false;
	}
	if(!sendATCommand(AT_SET_NWKKEY, 2000, AT_RESPONSE_CAPTURE_OK)){
		return false;
	}
	if(!sendATCommand(AT_SET_APPSKEY, 2000, AT_RESPONSE_CAPTURE_OK)){
		return false;
	}
	if(!sendATCommand(AT_SET_NWKSKEY, 2000, AT_RESPONSE_CAPTURE_OK)){
		return false;
	}
	if(!sendATCommand(AT_SET_ADR, 2000, AT_RESPONSE_CAPTURE_OK)){
		return false;
	}
	if(!sendATCommand(AT_SAVE_TO_FLASH, 2000, AT_RESPONSE_CAPTURE_NVM_STORED)){
		return false;
	}
	return true;
}

bool joinNetwork(void){
	if(!sendATCommand(AT_JOIN_OTAA, 20000, AT_RESPONSE_CAPTURE_JOIN)){
		HAL_NVIC_SystemReset();
		return false;
	}
	return true;
}

char* buildATCommand(const char *AT_SEND_, TxPayload payload) {
    // Calculate the total length needed for the new string
    // Each byte in payload becomes 2 hex characters, +2 for \r\n, +1 for null terminator
    int total_length = strlen(AT_SEND_) + (payload.length * 2) + 2 + 1;

    // Allocate memory for the new string
    char *result = (char *)malloc(total_length * sizeof(char));

    if (result == NULL) {
        // Handle memory allocation failure
        return NULL;
    }

    // Copy the initial string to the result
    strcpy(result, AT_SEND_);

    // Concatenate the payload as hex string
    for (int x = 0; x < payload.length; x++) {
        char temp[3]; // Buffer to hold hex representation (2 digits + null terminator)
        snprintf(temp, sizeof(temp), "%02X", payload.buffer[x]); // Convert to hex
        strcat(result, temp); // Append hex string to result
    }

    // Append \r\n at the end
    strcat(result, "\r\n");

    return result;
}

bool sendToLora(uint8_t portNumber, bool isConfirmedUplink, TxPayload payload){
	// Base command string
	const char *AT_SEND_ = "AT+SEND=";

	// Convert portNumber and isConfirmedUplink to strings
	char portNumberStr[4]; // Assuming portNumber won't exceed 3 digits
	snprintf(portNumberStr, sizeof(portNumberStr), "%d", portNumber);

	char confirmedUplinkStr[2]; // Single digit for true (1) or false (0)
	snprintf(confirmedUplinkStr, sizeof(confirmedUplinkStr), "%d", isConfirmedUplink);

	// Calculate the total length needed
	int total_length = strlen(AT_SEND_) + strlen(portNumberStr) + 1 + strlen(confirmedUplinkStr) + 1 + (payload.length * 2) + 2 + 1;

	// Allocate memory for the full command string
	char *result = (char *)malloc(total_length * sizeof(char));

	if (result == NULL) {
		// Handle memory allocation failure
		return false;
	}

	// Construct the command string
	strcpy(result, AT_SEND_);
	strcat(result, portNumberStr);
	strcat(result, ":");
	strcat(result, confirmedUplinkStr);
	strcat(result, ":");

	// Concatenate the payload
	for (int x = 0; x < payload.length; x++) {
		char temp[3];
		snprintf(temp, sizeof(temp), "%02X", payload.buffer[x]);
		strcat(result, temp);
	}

	// Append \r\n at the end
	strcat(result, "\r\n");

	// Send the command
	bool commandSent = sendATCommand(result, 4000, AT_RESPONSE_CAPTURE_SEND_OK);

	// Free the allocated memory
	free(result);

	return commandSent;

}

bool sendATCommand(char *command, uint32_t responseWaitTime, LPUARTState _lpuartState) {

    lpuartState = _lpuartState;
    //bufferIndex = 0;
    responseReceived = false;
    printf(command);

    // Wait for response or timeout
    uint32_t startTick = HAL_GetTick();
    while ((HAL_GetTick() - startTick) < responseWaitTime) {
    	// Internal IWDT Feed
        HAL_IWDG_Refresh(&hiwdg);
    	if (responseReceived) {
            return true; // "OK" response received
        }
    }

    lpuartState = UART_IDLE;

    return false; // Timeout occurred without receiving "OK"
}

void readSHT40(SHT40 *_sht40){
	HAL_StatusTypeDef ret = SHT40_Measure(&hi2c1, &sht40, MED_PRECISION);

	if(ret == HAL_ERROR){
		_sht40->temperature  = 0;
		_sht40->humidity     = 0;
	}else{
		_sht40->temperature = sht40.temperature;
		_sht40->humidity    = sht40.rel_humidity;

		// check for threshold breach

		if(_sht40->temperature > _sht40->thresholds.temp_high + _sht40->thresholds.temp_hys){
			//Anti Spam
			if(_sht40->alarmState.temperature != ABOVE_THRESHOLD){
				_sht40->alarmState.temperature = ABOVE_THRESHOLD;
				//printf("Threshold breach! -> Temperature High \r\n");
				queueUnscheduledPayload();

			}
		}

		if(_sht40->temperature < _sht40->thresholds.temp_low - _sht40->thresholds.temp_hys){
			//Anti Spam
			if(_sht40->alarmState.temperature != BELOW_THRESHOLD){
				_sht40->alarmState.temperature = BELOW_THRESHOLD;
				//printf("Threshold breach! -> Temperature Low \r\n");
				queueUnscheduledPayload();
			}
		}

		if(_sht40->temperature > (_sht40->thresholds.temp_low + _sht40->thresholds.temp_hys)
			&& _sht40->temperature < (_sht40->thresholds.temp_high - _sht40->thresholds.temp_hys)){
			//Anti Spam
			if(_sht40->alarmState.temperature != NORMAL){
				_sht40->alarmState.temperature = NORMAL;
				//printf("Temperature Now Normal \r\n");
				queueUnscheduledPayload();
			}
		}

		if(_sht40->humidity > _sht40->thresholds.rel_high + _sht40->thresholds.rel_hys){
			//Anti Spam
			if(_sht40->alarmState.humidity != ABOVE_THRESHOLD){
				_sht40->alarmState.humidity = ABOVE_THRESHOLD;
				//printf("Threshold breach! -> Humidity High \r\n");
				queueUnscheduledPayload();
			}
		}

		if(_sht40->humidity < _sht40->thresholds.rel_low - _sht40->thresholds.rel_hys){
			//Anti Spam
			if(_sht40->alarmState.humidity != BELOW_THRESHOLD){
				_sht40->alarmState.humidity = BELOW_THRESHOLD;
				//printf("Threshold breach! -> Humidity Low \r\n");
				queueUnscheduledPayload();
			}
		}

		if(_sht40->humidity > (_sht40->thresholds.rel_low + _sht40->thresholds.rel_hys)
			&& _sht40->humidity < (_sht40->thresholds.rel_high - _sht40->thresholds.rel_hys)){
			//Anti Spam
			if(_sht40->alarmState.humidity != NORMAL){
				_sht40->alarmState.humidity = NORMAL;
				//printf("Humidity Now Normal \r\n");
				queueUnscheduledPayload();
			}
		}

	}

}

static int32_t platform_write(void *handle, uint8_t reg, const uint8_t *bufp,
                              uint16_t len)
{
	HAL_I2C_Mem_Write(handle, LIS2DW12_I2C_ADD_L, reg, I2C_MEMADD_SIZE_8BIT, (uint8_t*) bufp, len, 1000);
  return 0;
}

/*
 * @brief  Read generic device register (platform dependent)
 *
 * @param  handle    customizable argument. In this examples is used in
 *                   order to select the correct sensor bus handler.
 * @param  reg       register to read
 * @param  bufp      pointer to buffer that store the data read
 * @param  len       number of consecutive register to read
 *
 */
static int32_t platform_read(void *handle, uint8_t reg, uint8_t *bufp,
                             uint16_t len)
{
	HAL_I2C_Mem_Read(handle, LIS2DW12_I2C_ADD_L, reg, I2C_MEMADD_SIZE_8BIT, bufp, len, 1000);

  return 0;
}

/*
 * @brief  Write generic device register (platform dependent)
 *
 * @param  tx_buffer     buffer to transmit
 * @param  len           number of byte to send
 *
 */
//static void tx_com(uint8_t *tx_buffer, uint16_t len)
//{
//	HAL_UART_Transmit(&hlpuart1, tx_buffer, len, 1000);
//}

/*
 * @brief  platform specific delay (platform dependent)
 *
 * @param  ms        delay in ms
 *
 */
static void platform_delay(uint32_t ms)
{
	HAL_Delay(ms);

}

/*
 * @brief  platform specific initialization (platform dependent)
 */
static void platform_init(void)
{

}

bool initAccelerometer(void){
	// Initialize Accelerometer
	/* Initialize mems driver interface */

	  dev_ctx.write_reg = platform_write;
	  dev_ctx.read_reg = platform_read;
	  dev_ctx.mdelay = platform_delay;
	  dev_ctx.handle = &hi2c1;
	  /* Initialize platform specific hardware */
	  platform_init();
	  /* Wait sensor boot time */
	  platform_delay(BOOT_TIME);
	  /* Check device ID */
	  lis2dw12_device_id_get(&dev_ctx, &whoamI);

	  if (whoamI != LIS2DW12_ID){
		  return false;
	  }

	  /* Restore default configuration */
	   lis2dw12_reset_set(&dev_ctx, PROPERTY_ENABLE);

	   do {
		 lis2dw12_reset_get(&dev_ctx, &rst);
	   } while (rst);

     /* Set full scale */
	 lis2dw12_full_scale_set(&dev_ctx, LIS2DW12_2g);
	 /* Configure filtering chain
	  * Accelerometer - filter path / bandwidth
	  */
	 lis2dw12_filter_path_set(&dev_ctx, LIS2DW12_LPF_ON_OUT);
	 lis2dw12_filter_bandwidth_set(&dev_ctx, LIS2DW12_ODR_DIV_4);
	 /* Configure power mode */
	 lis2dw12_power_mode_set(&dev_ctx,
							 LIS2DW12_CONT_LOW_PWR_LOW_NOISE_12bit);

//	 /* Enable Tap detection on X, Y, Z */
//	  lis2dw12_tap_detection_on_z_set(&dev_ctx, PROPERTY_ENABLE);
//	  lis2dw12_tap_detection_on_y_set(&dev_ctx, PROPERTY_ENABLE);
//	  lis2dw12_tap_detection_on_x_set(&dev_ctx, PROPERTY_ENABLE);
//	  /* Set Tap threshold on all axis */
//	  lis2dw12_tap_threshold_x_set(&dev_ctx, 15);
//	  lis2dw12_tap_threshold_y_set(&dev_ctx, 15);
//	  lis2dw12_tap_threshold_z_set(&dev_ctx, 15);
//
//	  /* Configure Single Tap parameter */
//	    lis2dw12_tap_quiet_set(&dev_ctx, 1);
//	    lis2dw12_tap_shock_set(&dev_ctx, 3);
//	    /* Enable Single Tap detection only */
//	    lis2dw12_tap_mode_set(&dev_ctx, LIS2DW12_ONLY_SINGLE);
//	    /* Enable single tap detection interrupt */
//	    lis2dw12_pin_int1_route_get(&dev_ctx, &int_route.ctrl4_int1_pad_ctrl);
//	    int_route.ctrl4_int1_pad_ctrl.int1_single_tap = PROPERTY_ENABLE;
//	    lis2dw12_pin_int1_route_set(&dev_ctx, &int_route.ctrl4_int1_pad_ctrl);

	 /* Set wake-up duration
	  * Wake up duration event 1LSb = 1 / ODR
	  */
	 lis2dw12_wkup_dur_set(&dev_ctx, 2);
	 /* Set sleep duration
	  * Duration to go in sleep mode (1 LSb = 512 / ODR)
	  */
	 lis2dw12_act_sleep_dur_set(&dev_ctx, 3);
	 /* Set Activity wake-up threshold
	  * Threshold for wake-up 1 LSB = FS_XL / 64
	  */
	 lis2dw12_wkup_threshold_set(&dev_ctx, 1);
	 /* Data sent to wake-up interrupt function */
	 lis2dw12_wkup_feed_data_set(&dev_ctx, LIS2DW12_HP_FEED);
	 /* Config activity / inactivity or stationary / motion detection */
	 lis2dw12_act_mode_set(&dev_ctx, LIS2DW12_DETECT_ACT_INACT);
	 /* Enable activity detection interrupt */
	 lis2dw12_pin_int1_route_get(&dev_ctx, &int_route.ctrl4_int1_pad_ctrl);
	 int_route.ctrl4_int1_pad_ctrl.int1_wu = PROPERTY_ENABLE;
	 lis2dw12_pin_int1_route_set(&dev_ctx, &int_route.ctrl4_int1_pad_ctrl);
	 /* Set Output Data Rate */
	 lis2dw12_data_rate_set(&dev_ctx, LIS2DW12_XL_ODR_200Hz);

	 //init sensors struct
	 sensors.accel.status = STATIONARY;

	 return true;
}

void readAccelerometer(Accel *_accel){
	lis2dw12_all_sources_t all_source;
	  /* Read status register */
	  lis2dw12_all_sources_get(&dev_ctx, &all_source);

	  /* Check if Activity/Inactivity events */
	  if (all_source.wake_up_src.sleep_state_ia) {
		  //Inactivity
		  // Reset after sending Interrupt
//		  if(isTapDetected || isMovementDetected){
		      _accel->status = STATIONARY;
			  isTapDetected = false;
			  isMovementDetected = false;
//			  printf("Resetting flags \r\n ");
//		  }
	  }

	  if (all_source.wake_up_src.wu_ia) {

		// Activity
		if(isTapDetected == false){
			isTapDetected = true;
			_accel->status = SMASHED;
			//printf("Smash Detected \nX: %d \nY: %d \nZ: %d\r\n ", all_source.wake_up_src.x_wu, all_source.wake_up_src.y_wu, all_source.wake_up_src.z_wu);

			initTapMillis = HAL_GetTick();

			TxPayload _heartBeatPayload;
			generateUnscheduledTxPayload(sensors, &_heartBeatPayload);
			sendToLora(INTERRUPT_PORT, CONFIRMED_UPLINK, _heartBeatPayload);

     		//isTapDetected = false;
 			//isMovementDetected = false;
		}
		if(isTapDetected == true){
			if(HAL_GetTick() - initTapMillis > 3000){
				if(isMovementDetected == false){
					isMovementDetected = true;
					_accel->status = MOVING;
					//printf("Movement Detected \r\n ");

					TxPayload _heartBeatPayload;
					generateUnscheduledTxPayload(sensors, &_heartBeatPayload);
					sendToLora(INTERRUPT_PORT, CONFIRMED_UPLINK, _heartBeatPayload);

					isTapDetected = false;
					isMovementDetected = false;
				}
			}
		}
	  }
}

void readLTC4015(LTCStatus *ltc4015){

	 uint16_t i2c_data = 0;

	 HAL_I2C_Mem_Read(&hi2c1, 0x68 << 1, 0x3A, I2C_MEMADD_SIZE_8BIT, (uint8_t*)&i2c_data, 2, HAL_MAX_DELAY);
	 ltc4015->VBAT= i2c_data * 0.000192264 * 4;

	 HAL_I2C_Mem_Read(&hi2c1, 0x68 << 1, 0x3B, I2C_MEMADD_SIZE_8BIT, (uint8_t*)&i2c_data, 2, HAL_MAX_DELAY);
	 ltc4015->VIN = i2c_data * 0.001648;

	 HAL_I2C_Mem_Read(&hi2c1, 0x68 << 1, 0x3C, I2C_MEMADD_SIZE_8BIT, (uint8_t*)&i2c_data, 2, HAL_MAX_DELAY);
	 ltc4015->VSYS = i2c_data * 0.001648;
#ifdef SERIAL_DEBUG_LTC
	 printf("LTC4015 Readings \r\n");
	 printf("VIN  = %.2f \r\n", ltc4015->VIN);
	 printf("VBAT = %.2f \r\n", ltc4015->VBAT);
	 printf("VSYS = %.2f \r\n", ltc4015->VSYS);
#endif
	}

// Function to mock Modbus response
void mockModbusResponse(ModBus_t *modbus, uint8_t *data, uint16_t length) {
    memcpy(modbus->buffer, data, length);
    modbus->rxIndex = length;
}

// Function to append Modbus response to payload
void appendModbusToPayload(TxPayload *payload, ModBus_t *modbus) {
    memcpy(&payload->buffer[payload->length], modbus->buffer, modbus->rxIndex);
    payload->length += modbus->rxIndex;
}

void initQueue(TxPayloadQueue *q) {
    q->front = 0;
    q->rear = 0;
    q->size = 0;
}

int enqueue(TxPayloadQueue *q, TxPayload element) {
    if (q->size == QUEUE_MAX_SIZE) {
        // Queue is full
        return -1;
    }

    q->queue[q->rear] = element;
    q->rear = (q->rear + 1) % QUEUE_MAX_SIZE;
    q->size++;
    return 0;
}

int dequeue(TxPayloadQueue *q, TxPayload *element) {
    if (q->size == 0) {
        // Queue is empty
        return -1;
    }

    *element = q->queue[q->front];
    q->front = (q->front + 1) % QUEUE_MAX_SIZE;
    q->size--;
    return 0;
}

int isQueueEmpty(TxPayloadQueue *q) {
    return (q->size == 0);
}

int isQueueFull(TxPayloadQueue *q) {
    return (q->size == QUEUE_MAX_SIZE);
}

void queueUnscheduledPayload(void){

	TxPayload unscheduledPayload;
	generateUnscheduledTxPayload(sensors, &unscheduledPayload);
	if(isWarmedUp == true){
		if (enqueue(&payLoadQueue, unscheduledPayload) == 0) {
			//printf("Added to Queue \r\n");
		} else {
			//printf("Queue is full \r\n");
		}
	}
}
void queueHeartbeatPayload(void){
	TxPayload heartbeatPayload;
	generateHeartbeatTxPayload(sensors, &heartbeatPayload);

	if(isWarmedUp == true){
		if (enqueue(&payLoadQueue, heartbeatPayload) == 0) {
			//printf("Added Heartbeat to Queue \r\n");
		} else {
			//printf("Queue is full \r\n");
		}
	}

}

void queuePayload(TxPayload Payload){

	if(isWarmedUp == true){
		if (enqueue(&payLoadQueue, Payload) == 0) {
			//printf("Added Heartbeat to Queue \r\n");
		} else {
			//printf("Queue is full \r\n");
		}
	}

}

void readWaterLeak(WaterLeak *leak){
	if(ADS1115_readSingleEnded(ADS1115_MUX_AIN0, &adcRead) == HAL_OK){
		leak->raw = adcRead;
		leak->state = (adcRead > WATER_LEAK_TH) ? WET : DRY;
	 }else{
		 //printf("Error Reading Water Leak");
	 }

}

/* USER CODE END 4 */

void Error_Handler(void)
{
  __disable_irq();
  while (1)
  {
  }
}
